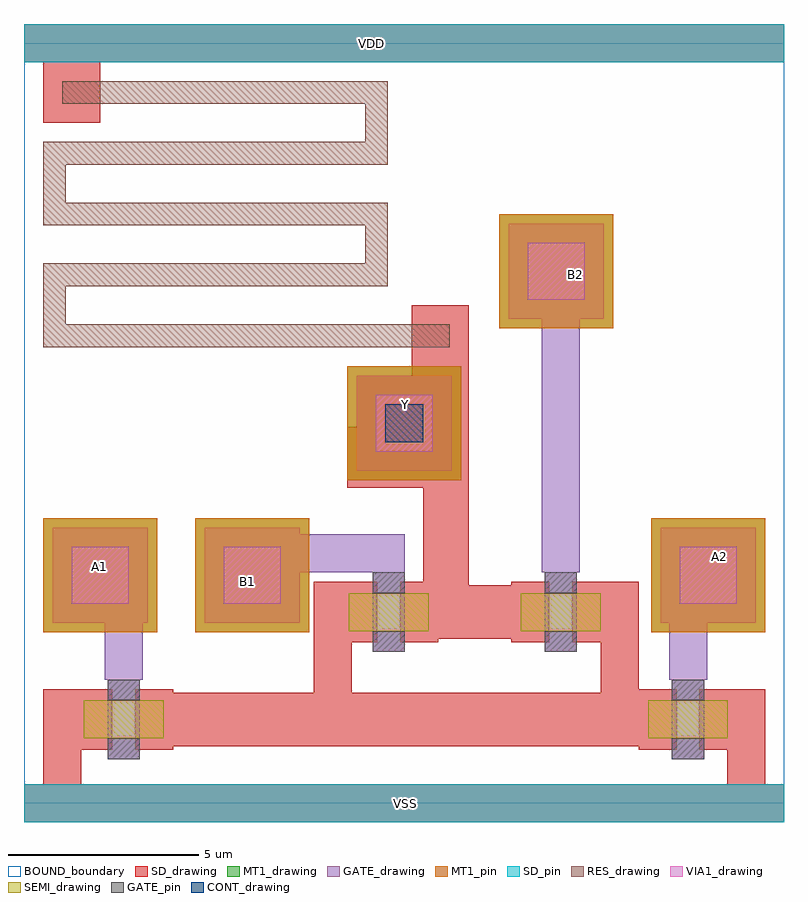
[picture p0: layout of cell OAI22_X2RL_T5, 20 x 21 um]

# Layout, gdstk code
from math import pi, radians
import gdstk
lib = gdstk.Library(unit=1e-6, precision=1e-09)
def R(c, l, rs):  # rectangles x0, y0, x1, y1
    for r in rs: c.add(gdstk.rectangle(r[:2], r[2:], *l))
def P(c, l, *ps):  # polygons
    for p in ps: c.add(gdstk.Polygon(p, *l))
RES_drawing = (1, 0)
SEMI_drawing = (3, 0)
SD_drawing = (10, 0)
SD_pin = (10, 3)
GATE_drawing = (11, 0)
GATE_pin = (11, 3)
MT1_drawing = (20, 0)
MT1_pin = (20, 3)
CONT_drawing = (30, 0)
VIA1_drawing = (41, 0)
BOUND_boundary = (150, 5)

nch_cdns_772545105360 = lib.new_cell('nch_CDNS_772545105360')
R(nch_cdns_772545105360, SEMI_drawing, [(-1.05,-0.5,1.05,0.5)])
R(nch_cdns_772545105360, SD_drawing, [(-1.3,-0.8,-0.3,0.8), (0.3,-0.8,1.3,0.8)])
R(nch_cdns_772545105360, GATE_drawing, [(-0.425,-1.05,0.425,1.05)])
R(nch_cdns_772545105360, GATE_pin, [(-0.425,-1.05,0.425,-0.5), (-0.425,0.5,0.425,1.05)])

gate_mt1_cdns_7725451053 = lib.new_cell('GATE_MT1_CDNS_772545105360')
R(gate_mt1_cdns_7725451053, GATE_drawing, [(-1.25,-1.25,1.25,1.25)])
R(gate_mt1_cdns_7725451053, MT1_drawing, [(-1.25,-1.25,1.25,1.25)])
R(gate_mt1_cdns_7725451053, VIA1_drawing, [(-0.75,-0.75,0.75,0.75)])

sd_gate_cdns_77254510536 = lib.new_cell('SD_GATE_CDNS_772545105361')
R(sd_gate_cdns_77254510536, SD_drawing, [(-1.25,-1.25,1.25,1.25)])
R(sd_gate_cdns_77254510536, GATE_drawing, [(-1.25,-1.25,1.25,1.25)])
R(sd_gate_cdns_77254510536, CONT_drawing, [(-0.5,-0.5,0.5,0.5)])

oai22_x2rl_t5 = lib.new_cell('OAI22_X2RL_T5')
R(oai22_x2rl_t5, SD_drawing, [(0,-0.5,20,0.5), (0.5,0.5,1.5,3), (18.5,0.5,19.5,3), (7.625,2.9,8.625,5.825), (15.175,2.9,16.175,5.825), (10.5,4.325,11.7,8.3), (10.2,8.3,11.7,13.1), (0.5,17.9,2,19.5), (0,19.5,20,20.5)])
R(oai22_x2rl_t5, SD_pin, [(0,-0.5,20,0.5), (0,19.5,20,20.5)])
R(oai22_x2rl_t5, GATE_drawing, [(7.25,6.075,10.025,7.075)])
P(oai22_x2rl_t5, GATE_drawing, [(17.975,3.35),(16.975,3.35),(16.975,3.25),(17.1,3.25),(17.1,3.2),(17.85,3.2),(17.85,3.25),(17.975,3.25)],
  [(14.625,6.175),(13.625,6.175),(13.625,6.075),(13.75,6.075),(13.75,6.025),(14.5,6.025),(14.5,6.075),(14.625,6.075)],
  [(10.025,6.175),(9.15,6.175),(9.15,6.075),(9.275,6.075),(9.275,6.025),(10.025,6.025)],
  [(3.125,3.35),(2.125,3.35),(2.125,3.25),(2.25,3.25),(2.25,3.2),(3,3.2),(3,3.25),(3.125,3.25)])
R(oai22_x2rl_t5, MT1_drawing, [(0.5,4.5,3.5,7.5), (4.5,4.5,7.5,7.5), (16.5,4.5,19.5,7.5), (8.5,8.5,11.5,11.5), (12.5,12.5,15.5,15.5)])
R(oai22_x2rl_t5, MT1_pin, [(0.5,4.5,3.5,7.5), (4.5,4.5,7.5,7.5), (16.5,4.5,19.5,7.5), (8.5,8.5,11.5,11.5), (12.5,12.5,15.5,15.5)])
R(oai22_x2rl_t5, BOUND_boundary, [(0,0,20,20)])
oai22_x2rl_t5.add(gdstk.FlexPath([(14.125,6.175),(14.125,12.75)], 1, ends="flush", simple_path=True, layer=11, datatype=0))  # GATE_drawing
oai22_x2rl_t5.add(gdstk.FlexPath([(17.475,3.35),(17.475,4.75)], 1, ends="flush", simple_path=True, layer=11, datatype=0))  # GATE_drawing
oai22_x2rl_t5.add(gdstk.FlexPath([(2.625,3.35),(2.625,4.75)], 1, ends="flush", simple_path=True, layer=11, datatype=0))  # GATE_drawing
oai22_x2rl_t5.add(gdstk.FlexPath([(8.5,9.1),(11.5,9.1)], 1.6, ends="flush", simple_path=True, layer=10, datatype=0))  # SD_drawing
oai22_x2rl_t5.add(gdstk.FlexPath([(10.9,5.025),(12.825,5.025)], 1.4, ends="flush", simple_path=True, layer=10, datatype=0))  # SD_drawing
oai22_x2rl_t5.add(gdstk.FlexPath([(3.925,2.2),(16.175,2.2)], 1.4, ends="flush", simple_path=True, layer=10, datatype=0))  # SD_drawing
oai22_x2rl_t5.add(gdstk.FlexPath([(2,18.7),(9.275,18.7),(9.275,17.1),(0.8,17.1),(0.8,15.5),(9.275,15.5),(9.275,13.9),(0.8,13.9),(0.8,12.3),(10.2,12.3)], 0.6, ends=(1, 1), simple_path=True, layer=1, datatype=0))  # RES_drawing
oai22_x2rl_t5.add(gdstk.Reference(nch_cdns_772545105360, (14.125,5.025), rotation=pi))
oai22_x2rl_t5.add(gdstk.Reference(nch_cdns_772545105360, (17.475,2.2), rotation=pi))
oai22_x2rl_t5.add(gdstk.Reference(nch_cdns_772545105360, (2.625,2.2)))
oai22_x2rl_t5.add(gdstk.Reference(nch_cdns_772545105360, (9.6,5.025)))
oai22_x2rl_t5.add(gdstk.Reference(gate_mt1_cdns_7725451053, (2,6)))
oai22_x2rl_t5.add(gdstk.Reference(gate_mt1_cdns_7725451053, (6,6)))
oai22_x2rl_t5.add(gdstk.Reference(gate_mt1_cdns_7725451053, (10,10)))
oai22_x2rl_t5.add(gdstk.Reference(gate_mt1_cdns_7725451053, (18,6)))
oai22_x2rl_t5.add(gdstk.Reference(gate_mt1_cdns_7725451053, (14,14)))
oai22_x2rl_t5.add(gdstk.Reference(sd_gate_cdns_77254510536, (10,10)))
oai22_x2rl_t5.add(gdstk.Label('VDD', (9.15,20), layer=10, texttype=3))
oai22_x2rl_t5.add(gdstk.Label('VSS', (10.05,0), layer=10, texttype=3))
oai22_x2rl_t5.add(gdstk.Label('Y', (10.05,10.5), layer=20, texttype=3))
oai22_x2rl_t5.add(gdstk.Label('B2', (14.525,13.9), layer=20, texttype=3))
oai22_x2rl_t5.add(gdstk.Label('B1', (5.875,5.825), layer=20, texttype=3))
oai22_x2rl_t5.add(gdstk.Label('A2', (18.3,6.5), layer=20, texttype=3))
oai22_x2rl_t5.add(gdstk.Label('A1', (1.975,6.225), layer=20, texttype=3))

lib.write_gds('OAI22_X2RL_T5.gds')
